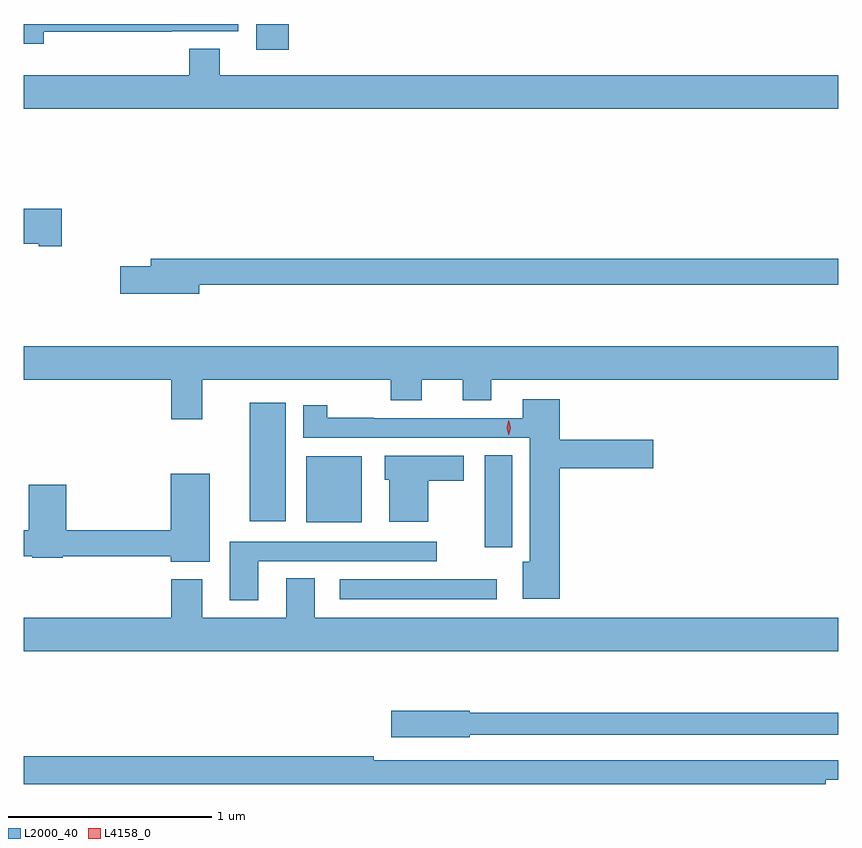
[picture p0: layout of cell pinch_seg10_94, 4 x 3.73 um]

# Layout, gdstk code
import gdstk
lib = gdstk.Library(unit=1e-6, precision=1e-09)
def R(c, l, rs):  # rectangles x0, y0, x1, y1
    for r in rs: c.add(gdstk.rectangle(r[:2], r[2:], *l))
def P(c, l, *ps):  # polygons
    for p in ps: c.add(gdstk.Polygon(p, *l))
L2000_40 = (2000, 40)
L4158_0 = (4158, 0)

pinch_seg10_94 = lib.new_cell('pinch_seg10_94')
R(pinch_seg10_94, L2000_40, [(720.303,1312.56,721.075,1312.656), (721.016,1312.815,721.15,1313.267), (720.14,1312.937,720.412,1313.26), (719.861,1312.943,720.04,1313.524), (719.894,1315.257,720.053,1315.383)])
P(pinch_seg10_94, L2000_40, [(718.85,1315.346),(719.48,1315.346),(719.48,1315.347),(719.805,1315.347),(719.805,1315.383),(718.752,1315.383),(718.752,1315.287),(718.85,1315.287)],
  [(722.752,1315.132),(719.716,1315.132),(719.716,1315.262),(719.564,1315.262),(719.564,1315.132),(718.752,1315.132),(718.752,1314.968),(722.752,1314.968)],
  [(718.939,1314.476),(718.752,1314.476),(718.752,1314.305),(718.826,1314.305),(718.826,1314.293),(718.939,1314.293)],
  [(719.614,1314.102),(722.752,1314.102),(722.752,1314.23),(719.375,1314.23),(719.375,1314.194),(719.226,1314.194),(719.226,1314.059),(719.614,1314.059)],
  [(719.629,1313.636),(720.554,1313.636),(720.554,1313.537),(720.706,1313.537),(720.706,1313.636),(720.908,1313.636),(720.908,1313.537),(721.048,1313.537),(721.048,1313.636),(722.752,1313.636),(722.752,1313.8),(718.752,1313.8),(718.752,1313.636),(719.477,1313.636),(719.477,1313.442),(719.629,1313.442)],
  [(721.385,1313.201),(721.843,1313.201),(721.843,1313.343),(721.385,1313.343),(721.385,1313.542),(721.202,1313.542),(721.202,1313.448),(720.47,1313.448),(720.47,1313.45),(720.243,1313.45),(720.243,1313.512),(720.125,1313.512),(720.125,1313.352),(721.238,1313.352),(721.238,1312.744),(721.202,1312.744),(721.202,1312.562),(721.385,1312.562)],
  [(720.739,1313.141),(720.913,1313.141),(720.913,1313.263),(720.524,1313.263),(720.524,1313.145),(720.548,1313.145),(720.548,1312.94),(720.739,1312.94)],
  [(719.665,1313.176),(719.474,1313.176),(719.474,1312.898),(718.961,1312.898),(718.961,1313.122),(718.778,1313.122),(718.778,1312.898),(718.752,1312.898),(718.752,1312.77),(718.794,1312.77),(718.794,1312.762),(718.944,1312.762),(718.944,1312.77),(719.474,1312.77),(719.474,1312.742),(719.665,1312.742)],
  [(719.905,1312.746),(720.781,1312.746),(720.781,1312.842),(719.765,1312.842),(719.765,1312.554),(719.905,1312.554)],
  [(722.752,1312.468),(720.181,1312.468),(720.181,1312.661),(720.041,1312.661),(720.041,1312.468),(719.629,1312.468),(719.629,1312.657),(719.477,1312.657),(719.477,1312.468),(718.752,1312.468),(718.752,1312.304),(722.752,1312.304)],
  [(720.942,1311.894),(722.752,1311.894),(722.752,1312.003),(720.942,1312.003),(720.942,1312.011),(720.558,1312.011),(720.558,1311.881),(720.942,1311.881)],
  [(722.69,1311.672),(722.752,1311.672),(722.752,1311.768),(720.47,1311.768),(720.47,1311.788),(718.752,1311.788),(718.752,1311.652),(722.69,1311.652)])
P(pinch_seg10_94, L4158_0, [(721.134,1313.364),(721.134,1313.365),(721.124,1313.401),(721.134,1313.437),(721.134,1313.437),(721.134,1313.437),(721.144,1313.401),(721.134,1313.365)])

lib.write_gds('pinch_seg10_94.gds')
